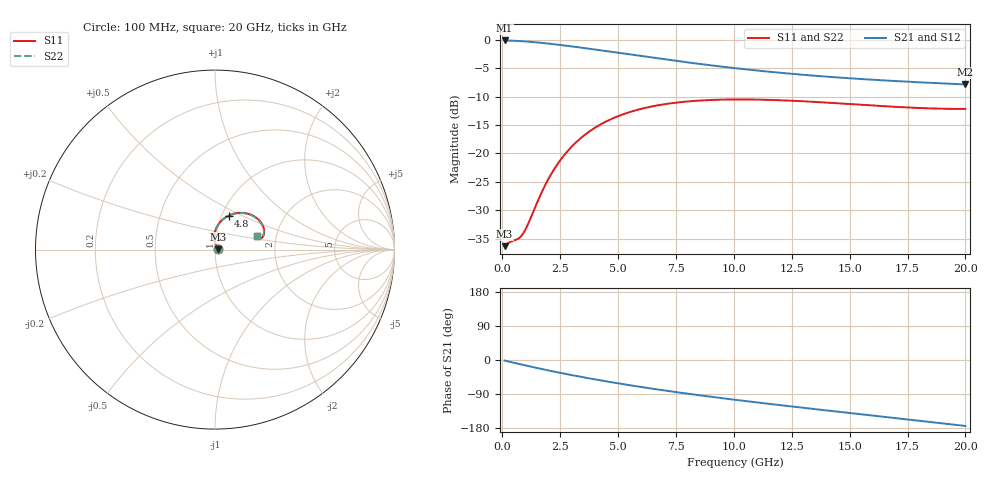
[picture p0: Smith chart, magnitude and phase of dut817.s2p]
! Touchstone file exported from HFSS 2024.1.0
!  File:  C:/UserFiles/LocalFiles/RDL_TSV_Batchsim/temp_RDL_TSV_817_1779914120.aedt
!  Generated:  04:50:10 AM May 28, 2026
!  Design:  RDL_TSV
!  Project:  temp_RDL_TSV_817_1779914120
!  Setup:  Setup1
!  Solution:  Sweep
! Variables:
!  dtsv = 7.52um
!  hbump = 3um
!  htsv = 73.61um
!  ldown = 477.62um
!  lrdl = 257.41um
!  p = 40
!  p1 = 45.4um
!  rhole = 10um
!  subl = 2462.5um
!  t = 450um
!  tdown = 3.1um
!  trdl = 3.62um
!  viad = 10um
!  wdown = 15.67um
!  wrdl = 29.06um
!  xbump = 18um
# GHz S MA R 50.000000
! Terminal data exported
! Port[1] = TM1_1_T1
! Port[2] = TM1_4_T1
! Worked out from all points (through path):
!   200 points, 100 MHz to 20 GHz, reference 50 ohm
!   highest |S21| = -0.13 dB at 100 MHz (marker M1); lowest = -7.9 dB at 20 GHz (marker M2)
!   group delay of S21, straight-line fit = 22.8 ps
!   lowest |S11| = -36.3 dB at 100 MHz (marker M3), VSWR 1.03, Z = 51.5 + j0.23 ohm
!   |S11| at or under -10 dB: start of sweep to end of sweep
!   |S22| runs from -36.3 to -10.6 dB; largest |S21 - S12| = 9.7e-15
!   S11 on the Smith chart (normalised r, x): 100 MHz: 1.03, +0.00; 4.8 GHz: 1.08, +0.43; 20 GHz: 1.59, +0.25
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0.1  0.01525 8.4  0.9846 -1.5  0.9846 -1.5  0.01525 8.4
! Gamma 0 0 0 0
! Port Impedance 50 0 50 0
0.3  0.01646 20.9  0.9821 -4.4  0.9821 -4.4  0.01646 20.9
0.7  0.0178 45.0  0.9738 -10.1  0.9738 -10.1  0.01781 44.9
0.9  0.01969 59.9  0.9683 -13.0  0.9683 -13.0  0.0197 59.7
1.1  0.02351 73.2  0.9618 -15.7  0.9618 -15.7  0.0235 73.0
1.8  0.05 93.0  0.9332 -25.1  0.9332 -25.1  0.04985 92.8
2.2  0.07039 93.5  0.914 -30.2  0.914 -30.2  0.07015 93.4
2.5  0.08677 91.9  0.8989 -33.9  0.8989 -33.9  0.08647 91.8
2.8  0.1035 89.5  0.8833 -37.5  0.8833 -37.5  0.1032 89.4
3.5  0.1421 82.3  0.8462 -45.6  0.8462 -45.6  0.1416 82.2
4.1  0.1728 75.7  0.8143 -52.2  0.8143 -52.2  0.1721 75.6
4.8  0.2043 68.1  0.7777 -59.5  0.7777 -59.5  0.2035 68.0
5.7  0.2373 59.1  0.7325 -68.4  0.7325 -68.4  0.2363 59.0
6.8  0.2664 49.4  0.6812 -78.6  0.6812 -78.6  0.2653 49.3
8.4  0.2902 37.9  0.6163 -92.1  0.6163 -92.1  0.2889 37.8
10.1  0.2981 28.4  0.5602 -105.3  0.5602 -105.3  0.2965 28.3
11.7  0.2947 21.8  0.5184 -117.0  0.5184 -117.0  0.293 21.7
13.4  0.2843 17.0  0.4834 -128.9  0.4834 -128.9  0.2825 16.9
15  0.2716 14.4  0.4576 -139.9  0.4576 -139.9  0.2697 14.3
16.7  0.2584 13.7  0.4357 -151.4  0.4357 -151.4  0.2564 13.7
18.4  0.2489 14.9  0.418 -163.0  0.418 -163.0  0.2469 15.0
20  0.246 17.3  0.4039 -174.1  0.4039 -174.1  0.2441 17.4
